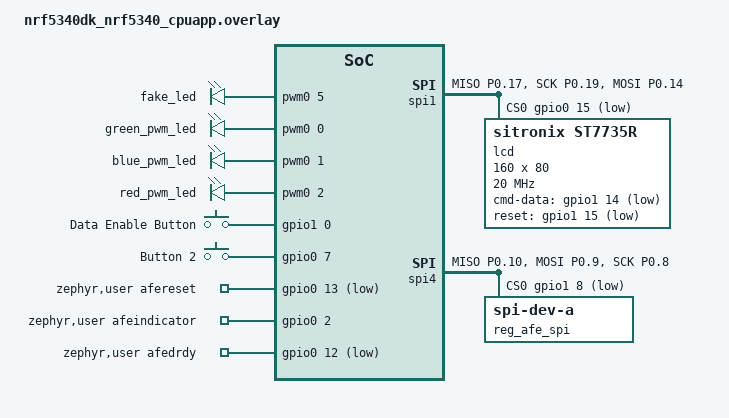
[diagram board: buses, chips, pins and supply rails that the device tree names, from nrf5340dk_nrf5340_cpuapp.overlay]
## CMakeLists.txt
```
#
# Copyright (c) 2020 Nordic Semiconductor
#
# SPDX-License-Identifier: LicenseRef-Nordic-5-Clause
#

cmake_minimum_required(VERSION 3.20.0)

find_package(Zephyr REQUIRED HINTS $ENV{ZEPHYR_BASE})
project(app_core)

# NORDIC SDK APP START
file(GLOB_RECURSE APP_SOURCES "${CMAKE_CURRENT_SOURCE_DIR}/src/*.cpp")
target_sources(app PRIVATE ${APP_SOURCES})

# NORDIC SDK APP END

include_directories(inc)

# Add project directories
zephyr_library_include_directories(.)

# Add CMSIS library from nrfSDK
include_directories(..\\..\\..\\..\\modules\\hal\\cmsis\\CMSIS\\DSP\\Include)
```

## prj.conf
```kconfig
#
# Copyright (c) 2020 Nordic Semiconductor ASA
#
# SPDX-License-Identifier: LicenseRef-Nordic-5-Clause
#

CONFIG_MULTITHREADING=y
CONFIG_KERNEL_MEM_POOL=y
CONFIG_NUM_PREEMPT_PRIORITIES=5
CONFIG_SYS_CLOCK_EXISTS=y
CONFIG_ZERO_LATENCY_IRQS=y
CONFIG_ARM_MPU=y

CONFIG_SMF=y
CONFIG_EVENTS=y

# Peripherals
CONFIG_PWM=y
CONFIG_I2C=n
CONFIG_WATCHDOG=y
CONFIG_SPI=y
CONFIG_SPI_ASYNC=y
CONFIG_FLASH=n
CONFIG_LED_GPIO=y
CONFIG_LED=y

# Enable log settings
CONFIG_LOG=y
CONFIG_STDOUT_CONSOLE=n
CONFIG_UART_CONSOLE=n
CONFIG_RTT_CONSOLE=y
CONFIG_EARLY_CONSOLE=n
CONFIG_USE_SEGGER_RTT=y
CONFIG_CBPRINTF_FP_A_SUPPORT=y
# Enable CPP specific flags
# NOTE: some are deprecated but we need them to avoid linker errors
CONFIG_CPLUSPLUS=y
CONFIG_LIB_CPLUSPLUS=y
CONFIG_NEWLIB_LIBC=y
CONFIG_STD_CPP14=y

# Enable CMSIS to be used through nrfSDK
CONFIG_FPU=y
CONFIG_NEWLIB_LIBC=y
CONFIG_CMSIS_DSP=y
CONFIG_CMSIS_DSP_SUPPORT=y
CONFIG_CMSIS_DSP_MATRIX=y
CONFIG_CMSIS_DSP_STATISTICS=y
CONFIG_CMSIS_DSP_TRANSFORM=y
CONFIG_CMSIS_DSP_BASICMATH=y
CONFIG_CMSIS_DSP_COMPLEXMATH=y
CONFIG_CMSIS_NN=n

# Enable hardware peripherals
CONFIG_DMA=y
CONFIG_CPP=y

# Enable firmware settings
CONFIG_USERSPACE=y
CONFIG_DEBUG_THREAD_INFO=y
CONFIG_DEBUG_OPTIMIZATIONS=n
# CONFIG_NO_OPTIMIZATIONS=y
CONFIG_DYNAMIC_INTERRUPTS=n
CONFIG_TEST=y
CONFIG_IRQ_OFFLOAD=n
CONFIG_THREAD_STACK_INFO=y
CONFIG_THREAD_CUSTOM_DATA=n
CONFIG_BOOT_BANNER=n
CONFIG_BOOT_DELAY=0
CONFIG_RING_BUFFER=y

# Enable CPP specific flags
# NOTE: some are deprecated but we need them to avoid linker errors
CONFIG_CPLUSPLUS=y
CONFIG_LIB_CPLUSPLUS=y
CONFIG_NEWLIB_LIBC=y
CONFIG_STD_CPP14=y

CONFIG_NRFX_SPIM0=y

# FOR LCD SCREEN
CONFIG_DISPLAY=y
CONFIG_LED=y
CONFIG_PRINTK=y
CONFIG_EARLY_CONSOLE=n

# LCD Configs
CONFIG_LV_FONT_MONTSERRAT_16=y
CONFIG_LV_Z_MEM_POOL_NUMBER_BLOCKS=8
CONFIG_LV_Z_SHELL=y
CONFIG_MAIN_STACK_SIZE=2048
CONFIG_DISPLAY_LOG_LEVEL_ERR=y
CONFIG_SHELL=y
CONFIG_DISPLAY=y
CONFIG_LVGL=y
CONFIG_ST7735R=y
CONFIG_LV_MEM_CUSTOM=y
CONFIG_LV_USE_LOG=y
CONFIG_LV_USE_LABEL=y
CONFIG_LV_USE_BTN=y
CONFIG_LV_USE_IMG=y
CONFIG_LV_USE_MONKEY=y
CONFIG_LV_FONT_MONTSERRAT_14=y
```

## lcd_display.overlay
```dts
// To get started, press Ctrl+Space to bring up the completion menu and view the available nodes.

// You can also use the buttons in the sidebar to perform actions on nodes.
// Actions currently available include:

// * Enabling / disabling the node
// * Adding the bus to a bus
// * Removing the node
// * Connecting ADC channels

// For more help, browse the DeviceTree documentation at https://docs.zephyrproject.org/latest/guides/dts/index.html
// You can also visit the nRF DeviceTree extension documentation at https://nrfconnect.github.io/vscode-nrf-connect/devicetree/nrfdevicetree.html

// #include "nrf5340_cpuapp_common-pinctrl.dtsi"
#include <zephyr/dt-bindings/pwm/pwm.h>
#include <zephyr/dt-bindings/input/input-event-codes.h>
#include <zephyr/dt-bindings/spi/spi.h>
#include <zephyr/dt-bindings/gpio/gpio.h>

&pinctrl {
    pwm0_default: pwm0_default {
        group1 {
            psels = <NRF_PSEL(PWM_OUT0, 0, 3)>,   // Channel 0, green line, pin 3 
                    <NRF_PSEL(PWM_OUT1, 0, 4)>,   // Channel 1, blue line, pin 4
                    <NRF_PSEL(PWM_OUT2, 0, 5)>;   // Channel 2, red line, pin 5
            nordic,invert;
        };
    };

    afe_spi_default: afe_spi_default {
        group1 {
            psels = <NRF_PSEL(SPIM_MISO, 0, 10)>,
                    <NRF_PSEL(SPIM_MOSI, 0, 9)>,
                    <NRF_PSEL(SPIM_SCK, 0, 8)>;
        };
    };

    afe_spi_sleep: afe_spi_sleep {
        group1 {
            psels = <NRF_PSEL(SPIM_MISO, 0, 10)>,
                    <NRF_PSEL(SPIM_MOSI, 0, 9)>,
                    <NRF_PSEL(SPIM_SCK, 0, 8)>;
            low-power-enable;
        };
    };
};

/ {
    aliases {
        pwm-led0 = &fake_led;
        greenled = &green_pwm_led; // 0.03
        blueled = &blue_pwm_led; // 0.04
        redled = &red_pwm_led; // 0.05
        databutton = &button_data_en; // 1.00
        afespi = &spi0;
    };

    pwmleds {
        compatible = "pwm-leds";

        // pwm0 Ch dont care
        fake_led: fake {
            pwms = <&pwm0 5 15625000 PWM_POLARITY_NORMAL>;
        };
        // pwm0 Ch 0
        green_pwm_led: green_pwm {
            pwms = <&pwm0 0 15625000 PWM_POLARITY_NORMAL>;
        };
        // pwm0 Ch 1
        blue_pwm_led: blue_pwm {
            pwms = <&pwm0 1 15625000 PWM_POLARITY_NORMAL>;
        };
        // pwm0 Ch 2
        red_pwm_led: red_pwm {
            pwms = <&pwm0 2 15625000 PWM_POLARITY_NORMAL>;
        };
    };
    
    buttons {
        compatible = "gpio-keys";
        button_data_en: data_en {
            gpios = <&gpio1 0 (GPIO_PULL_DOWN | GPIO_ACTIVE_HIGH)>;
            label = "Data Enable Button";
            zephyr,code = <INPUT_KEY_0>;
        };
    };

    zephyr,user {
        afereset-gpios = <&gpio0 13 (GPIO_ACTIVE_LOW | GPIO_PULL_UP)>;
        afereset-label = "AFE Reset";
        afeindicator-gpios = <&gpio0 2 0>;
        afeindicator-label = "AFE Indicator LED";
    };
};

/delete-node/ &pwm_led0;
/delete-node/ &{/pin-controller/pwm0_sleep/group1/};

&pwm0_default {
    group1 {
        psels = <NRF_PSEL(PWM_OUT2, 0, 5)>;
    };
    group2 {
        psels = <NRF_PSEL(PWM_OUT0, 1, 3)>, <NRF_PSEL(PWM_OUT1, 0, 4)>, <NRF_PSEL(PWM_OUT2, 0, 5)>;
    };
};

afe_spi: &spi4 {
	compatible = "nordic,nrf-spim";
	status = "okay";
	pinctrl-0 = <&afe_spi_default>;
	pinctrl-1 = <&afe_spi_sleep>;
	pinctrl-names = "default", "sleep";
    cs-gpios = <&gpio1 8 (GPIO_ACTIVE_LOW)>;
	reg_afe_spi:  spi-dev-a@0 {
		reg = <0>;
	};
};

&i2c1_default {
    group1 {
        psels = <NRF_PSEL(TWIM_SDA, 1, 2)>;
    };
};

&i2c1_sleep {
    group1 {
        psels = <NRF_PSEL(TWIM_SDA, 1, 2)>;
    };
};
&gpio_fwd {
    uart {
        status = "disabled";
        /delete-property/ nfct-pins-as-gpios;
    };
};
&uart0 {
    status = "disabled";
};
&qspi {
    status = "disabled";
};
&gpiote {
    status = "okay";
};
```

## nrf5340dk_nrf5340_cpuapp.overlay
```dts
// To get started, press Ctrl+Space to bring up the completion menu and view the available nodes.

// You can also use the buttons in the sidebar to perform actions on nodes.
// Actions currently available include:

// * Enabling / disabling the node
// * Adding the bus to a bus
// * Removing the node
// * Connecting ADC channels

// For more help, browse the DeviceTree documentation at https://docs.zephyrproject.org/latest/guides/dts/index.html
// You can also visit the nRF DeviceTree extension documentation at https://nrfconnect.github.io/vscode-nrf-connect/devicetree/nrfdevicetree.html

// #include "nrf5340_cpuapp_common-pinctrl.dtsi"
#include <zephyr/dt-bindings/pwm/pwm.h>
#include <zephyr/dt-bindings/input/input-event-codes.h>
#include <zephyr/dt-bindings/spi/spi.h>
#include <zephyr/dt-bindings/gpio/gpio.h>

&pinctrl {
    pwm0_default: pwm0_default {
        group1 {
            psels = <NRF_PSEL(PWM_OUT0, 0, 3)>,   // Channel 0, green line, pin 3 
                    <NRF_PSEL(PWM_OUT1, 0, 4)>,   // Channel 1, blue line, pin 4
                    <NRF_PSEL(PWM_OUT2, 0, 5)>;   // Channel 2, red line, pin 5
            nordic,invert;
        };
    };

    afe_spi_default: afe_spi_default {
        group1 {
            psels = <NRF_PSEL(SPIM_MISO, 0, 10)>,
                    <NRF_PSEL(SPIM_MOSI, 0, 9)>,
                    <NRF_PSEL(SPIM_SCK, 0, 8)>;
        };
    };

    afe_spi_sleep: afe_spi_sleep {
        group1 {
            psels = <NRF_PSEL(SPIM_MISO, 0, 10)>,
                    <NRF_PSEL(SPIM_MOSI, 0, 9)>,
                    <NRF_PSEL(SPIM_SCK, 0, 8)>;
            low-power-enable;
        };
    };
};

&pinctrl {
    lcd_spi_default: lcd_spi_default {
        group1 {
            psels = <NRF_PSEL(SPIM_MISO, 0, 17)>, <NRF_PSEL(SPIM_SCK, 0, 19)>;
        };

        group2 {
            psels = <NRF_PSEL(SPIM_MOSI, 0, 14)>;
            nordic,invert;
        };
    };
    // lcd_spi_sleep: lcd_spi_sleep {
    //     group1 {
    //         psels = <NRF_PSEL(SPIM_MISO, 0, 17)>,
    //                 <NRF_PSEL(SPIM_MOSI, 0, 14)>,
    //                 <NRF_PSEL(SPIM_SCK, 0, 19)>;
    //         low-power-enable;
    //     };
    // };
};

/ {
    aliases {
        pwm-led0 = &fake_led;
        greenled = &green_pwm_led; // 0.03
        blueled = &blue_pwm_led; // 0.04
        redled = &red_pwm_led; // 0.05
        afespi = &spi0;
        button1 = &button_1; // 1.00
        button2 = &button_2; // 1.00
    };

    chosen {
        zephyr,display = &lcd;
    };

    pwmleds {
        compatible = "pwm-leds";

        // pwm0 Ch dont care
        fake_led: fake {
            pwms = <&pwm0 5 15625000 PWM_POLARITY_NORMAL>;
        };
        // pwm0 Ch 0
        green_pwm_led: green_pwm {
            pwms = <&pwm0 0 15625000 PWM_POLARITY_NORMAL>;
        };
        // pwm0 Ch 1
        blue_pwm_led: blue_pwm {
            pwms = <&pwm0 1 15625000 PWM_POLARITY_NORMAL>;
        };
        // pwm0 Ch 2
        red_pwm_led: red_pwm {
            pwms = <&pwm0 2 15625000 PWM_POLARITY_NORMAL>;
        };
    };
    
    buttons {
        compatible = "gpio-keys";

		button_1: button1 {
			gpios = <&gpio1 0 (GPIO_PULL_DOWN | GPIO_ACTIVE_HIGH)>;
			label = "Data Enable Button";
			zephyr,code = <INPUT_KEY_0>;
		};

        button_2: button2 {
			gpios = <&gpio0 7 (GPIO_PULL_DOWN | GPIO_ACTIVE_HIGH)>;
			label = "Button 2";
			zephyr,code = <INPUT_KEY_0>;
		};
    };

    zephyr,user {
        afereset-gpios = <&gpio0 13 (GPIO_ACTIVE_LOW | GPIO_PULL_UP)>;
        afereset-label = "AFE Reset";
        afeindicator-gpios = <&gpio0 2 0>;
        afeindicator-label = "AFE Indicator LED";
        afedrdy-gpios = <&gpio0 12 (GPIO_ACTIVE_LOW)>;
        afedrdy-label = "AFE DRDY";
    };
};

/delete-node/ &pwm_led0;
/delete-node/ &{/pin-controller/pwm0_sleep/group1/};

lcd_spi: &spi1 {
	// compatible = "nordic,nrf-spim";
	status = "okay";
	pinctrl-0 = <&lcd_spi_default>;
    // pinctrl-1 = <&lcd_spi_sleep>;
	pinctrl-names = "default";
    cs-gpios = <&gpio0 15 (GPIO_ACTIVE_LOW)>;

    lcd: st7735r@0 {
        compatible = "sitronix,st7735r";
		spi-max-frequency = <20000000>;
		reg = <0>;
        // lcd-logic-power-gpios = <&gpio0 5 GPIO_ACTIVE_HIGH>;	/* D7 */
		// lcd-backlight-power-gpios = <&gpio1 13 GPIO_ACTIVE_HIGH>;	/* D4 */
		cmd-data-gpios = <&gpio1 14 GPIO_ACTIVE_LOW>;	/* D9 */
		reset-gpios = <&gpio1 15 GPIO_ACTIVE_LOW>;	/* D8 */
		width = <160>;
		height = <80>;
		inversion-on;
		rgb-is-inverted;
		x-offset = <1>;
		y-offset = <26>;
		pwctr1 = [62 02 04];
		pwctr2 = [C0];
		pwctr3 = [0D 00];
		pwctr4 = [8D 6A];
		pwctr5 = [8D EE];
		invctr = <3>;
		frmctr1 = [05 3A 3A];
		frmctr2 = [05 3A 3A];
		frmctr3 = [05 3A 3A 05 3A 3A];
		vmctr1 = <14>;
		gamctrp1 = [10 0E 02 03 0E 07 02 07 0A 12 27 37 00 0D 0E 10];
		gamctrn1 = [10 0E 03 03 0F 06 02 08 0A 13 26 36 00 0D 0E 10];
		colmod = <5>;
		madctl = <120>;
		caset = [00 01 00 a0];
		raset = [00 1a 00 69];

		// spi-max-frequency = <4000000>;
    };
};

&gpio_fwd {
    uart {
        gpios = <&gpio0 11 0>, <&gpio0 10 0>;
    };
};

&pwm0_default {
    group1 {
        psels = <NRF_PSEL(PWM_OUT2, 0, 5)>;
    };
    group2 {
        psels = <NRF_PSEL(PWM_OUT0, 1, 3)>, <NRF_PSEL(PWM_OUT1, 0, 4)>, <NRF_PSEL(PWM_OUT2, 0, 5)>;
    };
};

afe_spi: &spi4 {
	compatible = "nordic,nrf-spim";
	status = "okay";
    easydma-maxcnt-bits = <18>; // 2^18
	pinctrl-0 = <&afe_spi_default>;
	pinctrl-1 = <&afe_spi_sleep>;
	pinctrl-names = "default", "sleep";
    cs-gpios = <&gpio1 8 (GPIO_ACTIVE_LOW | GPIO_PULL_UP)>;
	reg_afe_spi:  spi-dev-a@0 {
		reg = <0>;
	};
};

&i2c1_default {
    group1 {
        psels = <NRF_PSEL(TWIM_SDA, 1, 2)>;
    };
};

&i2c1_sleep {
    group1 {
        psels = <NRF_PSEL(TWIM_SDA, 1, 2)>;
    };
};
&gpio_fwd {
    uart {
        status = "disabled";
        /delete-property/ nfct-pins-as-gpios;
    };
};
&uart0 {
    status = "disabled";
};
&qspi {
    status = "disabled";
};
&gpiote {
    status = "okay";
};

&qspi_default {
    group1 {
        psels = <NRF_PSEL(QSPI_IO0, 0, 13)>,
                <NRF_PSEL(QSPI_IO3, 0, 16)>,
                <NRF_PSEL(QSPI_CSN, 0, 18)>;
    };
};

&qspi_sleep {
    group1 {
        psels = <NRF_PSEL(QSPI_IO0, 0, 13)>, <NRF_PSEL(QSPI_IO3, 0, 16)>;
    };
};

&uart0_default {
    group1 {
        psels = <NRF_PSEL(UART_TX, 0, 20)>;
    };
};

&uart0_sleep {
    group1 {
        psels = <NRF_PSEL(UART_TX, 0, 20)>, <NRF_PSEL(UART_RX, 0, 22)>, <NRF_PSEL(UART_CTS, 0, 21)>;
    };
};
```

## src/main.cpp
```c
/*
 * Copyright (c) 2020 Nordic Semiconductor ASA
 *
 * SPDX-License-Identifier: LicenseRef-Nordic-5-Clause
 */

#include <zephyr/kernel.h>
#include <zephyr/drivers/gpio.h>
#include <zephyr/logging/log.h>
#include <zephyr/logging/log_ctrl.h>
#include <StateMachineThread.h>
#include <HIDThread.h>
#include <zephyr/init.h>
#include <HIDThread.h>
#include <nrf.h>
#include <nrfx.h>

#include <stdlib.h>

#include "ArmMatrixWrapper.h"
#include "led_handler.h"
#include "DataAcquisitionThread.h"
#include "SignalProcessingThread.h"
#include "drivers/ads1299.h"

// temporary
#include <zephyr/drivers/pwm.h>

LOG_MODULE_REGISTER(eegals_app_core, LOG_LEVEL_DBG);

// static const struct pwm_dt_spec blue_pwm_led = PWM_DT_SPEC_GET(DT_ALIAS(blueled));

#define LOG_DELAY_MS 3000
// #define LED_PERIOD 1000
// #define LED_OFF 0
// #define LED_CHANNEL 0
// #define LED_BLUE_PULSE_WIDTH 1000


int main(void)
{
	LOG_INF("Hello world from %s", CONFIG_BOARD);

	StateMachineThread::GetInstance().Initialize();
    HIDThread::GetInstance().Initialize();
	DataAcquisitionThread::GetInstance().Initialize();
	SignalProcessingThread::GetInstance().Initialize();

	while(1) {
		LOG_DBG("main thread uptime: %u ms", k_uptime_get_32());
		k_msleep(LOG_DELAY_MS);
	}

	return 0;
};
```

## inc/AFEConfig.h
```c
#ifndef AFE_CONFIG_H
#define AFE_CONFIG_H

#include <zephyr/device.h>
#include <zephyr/drivers/spi.h>
#include <zephyr/drivers/gpio.h>
#include <zephyr/drivers/led.h>

// AFE SPI
#define AFE_SPI DT_NODELABEL(afe_spi)
#define AFE_SPI_CS_DEV DT_PHANDLE(AFE_SPI, cs_gpios)
#define AFE_SPI_CS_PIN DT_PHA(AFE_SPI, cs_gpios, pin)
#define AFE_SPI_CS_DT_SPEC SPI_CS_GPIOS_DT_SPEC_GET(DT_NODELABEL(reg_afe_spi))
#define AFE_SPI_FREQUENCY_HZ 2000000

// AFE RESET PIN
#define ZEPHYR_USER_NODE DT_PATH(zephyr_user)
#define AFE_RESET_NODE DT_NODELABEL(ZEPHYR_USER_NODE)
#define AFE_RESET_DEV DT_PROP(ZEPHYR_USER_NODE, afereset_gpios)

#define AFE_INDICATE_NODE DT_NODELABEL(ZEPHYR_USER_NODE)
#define AFE_INDICATE_DEV DT_PROP(ZEPHYR_USER_NODE, afeindicator_gpios)

// AFE RESET LED METHOD
// #define LED1_RESET DT_NODELABEL(led1)
// #define LED1_RESET_DEV DT_PHANDLE(LED1_RESET, gpios)
// #define LED1_RESET_PIN DT_PHA(LED1_RESET, gpios, pin)
// #define LED1_RESET_FLAGS DT_PHA(LED1_RESET, gpios, flags)

#endif
```

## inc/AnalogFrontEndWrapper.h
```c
#pragma once

#include "Data.h"

class AnalogFrontEndWrapper {
    
public:
    virtual ~AnalogFrontEndWrapper() = default;
    virtual void Initialize() = 0;
    // virtual void Configure() = 0;
    virtual void Start()=0;
    virtual void Wakeup()=0;
    virtual void Standby()=0;
    virtual void Reset()=0;
    virtual void Stop()=0;
    virtual void ReadData()=0;
};
```

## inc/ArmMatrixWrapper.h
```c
#pragma once
// #include <stdint.h>
#include <cstdint>
#include <cstring>
#include <vector>
#include <zephyr/sys/printk.h> 

#include "arm_math.h"

template <uint32_t MaxRows, uint32_t MaxCols>
class ArmMatrixWrapper {
private:
    arm_matrix_instance_f32 matrix;

public:
    static constexpr uint32_t MaxBufferSize = MaxRows * MaxCols;
    float32_t data[MaxBufferSize];
    
    ArmMatrixWrapper() {
        arm_mat_init_f32(&matrix, MaxRows, MaxCols, data);
    };

    // Copy cstor
    ArmMatrixWrapper(const ArmMatrixWrapper& other) {
        memcpy(data, other.data, MaxBufferSize * sizeof(float32_t));
        arm_mat_init_f32(&matrix, MaxRows, MaxCols, data);
    };

    // Assignment optor
    ArmMatrixWrapper& operator=(const ArmMatrixWrapper& other) {
        if (this != &other) {
            memcpy(data, other.data, MaxBufferSize * sizeof(float32_t));
            arm_mat_init_f32(&matrix, MaxRows, MaxCols, data);
        }
        return *this;
    };

    // Dstor
    ~ArmMatrixWrapper() {};

    // Getters and Setters
    bool set_rows(uint32_t rows) {
        if (rows <= MaxRows) {
            arm_mat_init_f32(&matrix, rows, matrix.numCols, data);
            return true;
        } else {
            // NOTE: silent failure
            return false;
        }
    };

    bool set_cols(uint32_t cols) {
        if (cols <= MaxCols) {
            arm_mat_init_f32(&matrix, matrix.numRows, cols, data);
            return true;
        } else {
            // Handle error: Columns exceeds maximum allowed value
            return false;
        }
    };

    uint32_t get_rows() const {
        return matrix.numRows;
    };

    uint32_t get_cols() const {
        return matrix.numCols;
    };

    // Access Functions
    float32_t at(uint32_t index) const {
        if (index < MaxBufferSize) {
            return data[index];
        } else {
            // Note: silent error
            return 0.0f;
        }
    };

    bool set_at(float32_t value, uint32_t index) {
        if (index < MaxBufferSize) {
            data[index] = value;
            return true;
        } else {
            return false;
        }
    };

    bool set_at(float32_t value, uint32_t i, uint32_t j) {
        if (i < matrix.numRows && j < matrix.numCols) {
            data[i * matrix.numCols + j] = value;
            return true;
        } else {
            return false;
        }
    };

    float32_t at(uint32_t i, uint32_t j) const {
        if (i < matrix.numRows && j < matrix.numCols) {
            return data[i * matrix.numCols + j];
        } else {
            return 0.0f;
        }
    };

    ArmMatrixWrapper<MaxRows, 1> get_column_vector_at(uint32_t j) const {
        ArmMatrixWrapper<MaxRows, 1> columnVector;
        for (uint32_t i = 0; i < MaxRows; i++) {
            columnVector.set_at(at(i, j), i);
        }
        return columnVector;
    };

    // Get row vector at index i
    ArmMatrixWrapper<1, MaxCols> get_row_vector_at(uint32_t i) const {
        ArmMatrixWrapper<1, MaxCols> rowVector;
        for (uint32_t j = 0; j < MaxCols; j++) {
            rowVector.set_at(at(i, j), j);
        }
        return rowVector;
    };

    bool set_row_vector_at(const ArmMatrixWrapper<1, MaxCols>& rowVector, uint32_t i) {
        if (i >= matrix.numRows) {
            // Row index out of bounds
            return false;
        }

        for (uint32_t j = 0; j < MaxCols; ++j) {
            if (!set_at(rowVector.at(j), i, j)) {
                // Failed to set element in the row vector
                return false;
            }
        }
        return true;
    };

    bool set_column_vector_at(const ArmMatrixWrapper<MaxRows, 1>& columnVector, uint32_t j) {
        if (j >= matrix.numCols) {
            // Column index out of bounds
            return false;
        }

        for (uint32_t i = 0; i < MaxRows; ++i) {
            if (!set_at(columnVector.at(i), i, j)) {
                // Failed to set element in the column vector
                return false;
            }
        }
        return true;
    }

    void prettyPrint() {
        printk("\nmatrix data:\n");
        for (int row = 0; row < matrix.numRows; row++ ) { 
            for (int col = 0; col < matrix.numCols; col++ ) 
            { 
                printk("%.4f\t", this->at(row,col));
            }
            printk("\n");
        } 
        printk("\n");
    };

    // Overloaded Operators
    ArmMatrixWrapper operator+(const ArmMatrixWrapper& other) const {
        ArmMatrixWrapper result; // deepy copy
        arm_mat_add_f32(&matrix, &other.matrix, &result.matrix);
        return result;
    };

    ArmMatrixWrapper operator-(const ArmMatrixWrapper& other) const {
        ArmMatrixWrapper result;
        arm_mat_sub_f32(&matrix, &other.matrix, &result.matrix);
        return result;
    };

    ArmMatrixWrapper operator*(const ArmMatrixWrapper& other) const {
        ArmMatrixWrapper result;
        arm_mat_mult_f32(&matrix, &other.matrix, &result.matrix);
        return result;
    };

    ArmMatrixWrapper& operator+=(const ArmMatrixWrapper& other) {
        arm_mat_add_f32(&matrix, &other.matrix, &matrix);
        return *this;
    };

    ArmMatrixWrapper& operator-=(const ArmMatrixWrapper& other) {
        arm_mat_sub_f32(&matrix, &other.matrix, &matrix);
        return *this;
    };

    ArmMatrixWrapper& operator*=(const ArmMatrixWrapper& other) {
        arm_mat_mult_f32(&matrix, &other.matrix, &matrix);
        return *this;
    };

    // Matrix Operations
    ArmMatrixWrapper<MaxCols, MaxRows> transpose() const {
        ArmMatrixWrapper<MaxCols, MaxRows> result;
        arm_mat_trans_f32(&matrix, &result.matrix);
        return result;
    };

    bool inverse() {
        arm_status status = arm_mat_inverse_f32(&matrix, &matrix);
        return (status == ARM_MATH_SUCCESS);
    };

    bool scale(float32_t scaleFactor) {
        arm_mat_scale_f32(&matrix, scaleFactor, &matrix);
        return true; // Assuming the CMSIS-DSP function always succeeds
    };

    // Utility
    void set_to_identity() {
        // arm_mat_identity_f32(&matrix);
    };

    void set_to_zero() {
        memset(data, 0, MaxBufferSize * sizeof(float32_t));
        matrix.numCols = 0;
        matrix.numRows = 0;
    };

    // statistics
    float32_t maximum() const {
        float32_t maxValue;
        uint32_t maxIndex;
        arm_max_f32(data, MaxBufferSize, &maxValue, &maxIndex);
        return maxValue;
    };

    float32_t minimum() const {
        float32_t minValue;
        uint32_t minIndex;
        arm_min_f32(data, MaxBufferSize, &minValue, &minIndex);
        return minValue;
    };

    float32_t mean() const {
        float32_t meanValue;
        arm_mean_f32(data, MaxBufferSize, &meanValue);
        return meanValue;
    };

    //**** NOTE **** //
    // to avoid making unnecessary column/row vectors, we implement this ourselves:
    float32_t mean_row(uint32_t row_index) const {
        if (matrix.numCols == 0) {
            return 0;
        }
        float32_t sum = 0.0f;
        for (uint32_t j = 0; j < matrix.numCols; ++j) {
            sum += at(row_index, j);
        }
        return sum / matrix.numCols;
    };

    float32_t mean_column(uint32_t col_index) const {
        if (matrix.numRows == 0) {
            return 0;
        }
        float32_t sum = 0.0f;
        for (uint32_t i = 0; i < matrix.numRows; ++i) {
            sum += at(i, col_index);
        }
        return sum / matrix.numRows;
    };
    //**** end ****//
    float32_t power() const {
        float32_t powerValue;
        arm_power_f32(data, MaxBufferSize, &powerValue);
        return powerValue;
    };

    float32_t rms() const {
        float32_t rmsValue;
        arm_rms_f32(data, MaxBufferSize, &rmsValue);
        return rmsValue;
    };

    float32_t standardDeviation() const {
        float32_t stdDevValue;
        arm_std_f32(data, MaxBufferSize, &stdDevValue);
        return stdDevValue;
    };

    float32_t variance() const {
        float32_t varianceValue;
        arm_var_f32(data, MaxBufferSize, &varianceValue);
        return varianceValue;
    };

    float32_t meanSquareError(const ArmMatrixWrapper<MaxRows, MaxCols>& other) const {
        float32_t mseValue;
        arm_mean_squared_error_f32(data, other.data, MaxBufferSize, &mseValue);
        return mseValue;
    };

    // Computes the raw FFT for specific channel given a number of samples 
    ArmMatrixWrapper<MaxRows, 1> rawFFT(uint32_t channel) const {
        
        // Struct to store the output of the FFT for one channel 
        ArmMatrixWrapper<MaxRows, 1> rawResult;

        // Temporary arrays to store initial data and intermediate FFT values
        ArmMatrixWrapper<MaxRows, 1> inputFFT = this->get_column_vector_at(channel);

        // 0 indicates FFT and 1 indicates inverse FFT (This flag will not change)
        const uint8_t ifftFlag = 0;

        // Initalize the instance with the specified number of rows
        static arm_rfft_fast_instance_f32 fft_instance;
        arm_rfft_fast_init_f32(&fft_instance, MaxRows);

        // Compute the FFT and store the outputs of the FFT in the array
        arm_rfft_fast_f32(&fft_instance, inputFFT.data, rawResult.data, ifftFlag);

        // The first entry is the DC offset so simply set to 0
        rawResult.data[0] =  0;

        return rawResult;
    };


    // Computes the single-sided FFT for a specific channel given a number of samples
    ArmMatrixWrapper<MaxRows/2, 1> singleSideFFT(uint32_t channel) const {

        // Struct to store the output of the FFT for one channel 
        ArmMatrixWrapper<MaxRows/2, 1> FFTResult;

        // Extract the magnitude values because FFT values are complex and have both a magnitude and phase.
        // matrix.numRows/2 because we are looking at one-sided spectrum (# of magnitudes we want to look at)
        ArmMatrixWrapper<MaxRows, 1> rawFFTChannel = rawFFT(channel);
    
        // Input matrix is complex FFT size, output is complexFFT/2 size
        arm_cmplx_mag_f32(rawFFTChannel.data, FFTResult.data, MaxRows/2);

        return FFTResult;
    }

    // Computes the single-sided Power given the single-sided FFT of a channel
    ArmMatrixWrapper<MaxRows/2, 1> singleSidePower(uint32_t channel) const {
        
        // Struct to store the output of the FFT for one channel 
        ArmMatrixWrapper<MaxRows/2, 1> powerFFT;

        // Compute the power of the FFT
        ArmMatrixWrapper<MaxRows, 1> rawFFTChannel = rawFFT(channel);

        // Input matrix is complex FFT size, output is complexFFT/2 size
        arm_cmplx_mag_squared_f32(rawFFTChannel.data, powerFFT.data, MaxRows/2);

        // Check if the scaling is required for the above function
        // Copy the output to the result matrix
        return powerFFT;
    }

    // Computes the single-sided Band Power given the single-sided FFT of a channel,
    // Pwelch of specified channel and specific band power range type
    float32_t singleSideBandPower(float32_t sampleFreq, float32_t sampleNo, uint32_t bandSelect, uint8_t electrode) const {
        // The frequency resolution or frequency bin width
        float32_t freqRes = sampleFreq / sampleNo;
        // The following band limits: delta band, theta band, alpha band, beta band
        float32_t bandRanges[] = {1.f,3.f,4.f,7.f,8.f,12.f,13.f,30.f};

        // Low and high limit for specified band range of frequencies
        uint32_t lowLimit = 0;
        uint32_t highLimit = 0;

        switch(bandSelect){

            // delta band (Note: make an enum for the different band types)
            case 0:{
                lowLimit = (uint32_t)(floor(bandRanges[0] / freqRes));  
                highLimit = (uint32_t)(ceil(bandRanges[1] / freqRes));
                break;
            } 
            // theta band
            case 1:{
                lowLimit = (uint32_t)(floor(bandRanges[2] / freqRes));
                highLimit = (uint32_t)(ceil(bandRanges[3] / freqRes));
                break;
            }
            // alpha band
            case 2:{
                lowLimit = (uint32_t)(floor(bandRanges[4] / freqRes));
                highLimit = (uint32_t)(ceil(bandRanges[5] / freqRes));
                break;
            }
            // beta band
            case 3:{
                lowLimit = (uint32_t)(floor(bandRanges[6] / freqRes));
                highLimit = (uint32_t)(ceil(bandRanges[7] / freqRes));
                break;
            }
            default:{
                break;
            }
        }

        // Calculating the band power for specified band range of frequnencies
        float32_t bandPower = 0;
        for(uint32_t i = lowLimit; i < highLimit; i++){
            bandPower += at(i, electrode);
        }
        bandPower = bandPower * freqRes;
        return bandPower;
    };

    // Computes the single-sided Relative Band Power given the specified bandPower values
    ArmMatrixWrapper<4,1>  singleSideRelativeBandPower(ArmMatrixWrapper<4,1> bandPowers, uint8_t electrode){   
        ArmMatrixWrapper<4,1> relativeBandpowers;
        // Temporary array to store power results for one channel
        ArmMatrixWrapper<MaxRows, 1> electrodePowerResult = this->get_column_vector_at(electrode);

        // Calculate summation of total power for one channel
        float32_t totalPower = 0;
        for(uint32_t i = 0; i < MaxRows; i++){
            totalPower += electrodePowerResult.data[i];
        }

        // Calculate relative band power relative to the total power of one channel
        for(uint32_t i = 0; i < 4; i++){
            if(totalPower == 0) {
                relativeBandpowers.data[i] = 0.0f;
            }
            else {
                relativeBandpowers.data[i] = bandPowers.data[i] / totalPower;
            }
        }
        return relativeBandpowers;
    }
};
```

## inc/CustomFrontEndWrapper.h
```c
#pragma once

#include "AnalogFrontEndWrapper.h"

class CustomFrontEndWrapper : public AnalogFrontEndWrapper {
public:
    void Initialize() override;
    void Configure();
    void Start() override;
    void Wakeup() override;
    void Standby() override;
    void Reset() override;
    void Stop() override;
    void ReadData() override;
};
```

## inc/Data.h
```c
#pragma once
// #include <stdlib.h>
#include <cstdint>
#include "drivers/ads1299.h"

// GENERIC
#define CH1_IDX 0
#define CH2_IDX 1
#define CH3_IDX 2
#define CH4_IDX 3
#define CH5_IDX 4
#define CH6_IDX 5
#define CH7_IDX 6
#define CH8_IDX 7

#define DELTA_IDX 0
#define THETA_IDX 1
#define ALPHA_IDX 2
#define BETA_IDX  3

// SIGPROC
#define PROCESSED_SAMPLE_NUMBER 512
#define SAMPLE_FREQ 250 
#define CHANNELS_TEST 1 // Just for testing one channel 
#define BANDS 4

// DAQ
constexpr uint8_t num_electrodes = 8;
constexpr uint8_t max_epochs = 8;
constexpr uint8_t num_bytes_per_sample = 3 * (num_electrodes + 1);
constexpr uint16_t num_samples_per_test = 250;
constexpr uint16_t num_samples_per_epoch = 512;
constexpr uint16_t rx_buf_len = num_bytes_per_sample * num_samples_per_test;

// Data Buffer Manager
constexpr uint16_t max_samples_ring_buffer = 2048;
constexpr size_t sample_size_B = sizeof(sample_t);
constexpr size_t total_size_ring_buffer_B = max_samples_ring_buffer * sample_size_B;

typedef struct {
    float32_t delta;
    float32_t theta;
    float32_t alpha;
    float32_t beta;
} Electrode;

typedef struct {
    Electrode band_powers[num_electrodes];
    bool is_abnormal;
} Result;
```

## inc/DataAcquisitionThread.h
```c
#pragma once

#include <zephyr/logging/log_ctrl.h>
#include <zephyr/logging/log.h>
#include "core/Thread.h"
#include "TIBareMetalWrapper.h"

#define DATA_ACQ_THREAD_STACK_SIZE_B 2048
#define DATA_ACQ_THREAD_PRIORITY 4 // max based on prj config
#define DATA_ACQ_THREAD_MSG_Q_DEPTH 10

// #define AFE_RST_PIN DT_GPIO_PIN(AFE_RESET, gpios)

class DataAcquisitionThread : public Thread<DATA_ACQ_THREAD_MSG_Q_DEPTH> {
private:
    // TIFrontEndWrapper AFEWrapper;
    DataAcquisitionThread();
    ~DataAcquisitionThread() = default;

    // need to delete copy cstor and assign optor
    DataAcquisitionThread(const DataAcquisitionThread &) = delete;
    DataAcquisitionThread& operator=(const DataAcquisitionThread&) = delete;

    // ADS1299Driver afe_driver;
    TIBareMetalWrapper AFEWrapper;
public:
    enum DataAcquisitionThreadMessage : uint8_t {
        STOP_READING_AFE = 0,
        START_READING_AFE,
        READ_AFE_SAMPLE,
        RESET_AFE,
        CHECK_AFE_REGISTERS,
        RUN_INPUT_SHORT_TEST,
        RUN_INTERNAL_SQUARE_WAVE_TEST_SMALL_SLOW,
        RUN_INTERNAL_SQUARE_WAVE_TEST_BIG_FAST,
        INVALID,
    };

    void Initialize() override;
    void Run() override;

    static DataAcquisitionThread& GetInstance() {
        // NOTE: this method of using static local variable is thread-safe
        // NOTE: this has to be implemented in the child class
        static DataAcquisitionThread instance;
        return instance;
    }
};
```

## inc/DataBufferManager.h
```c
#pragma once

#include <zephyr/kernel.h>
#include <zephyr/sys/sem.h>
#include <zephyr/device.h>
#include <zephyr/logging/log.h>
#include <zephyr/sys/ring_buffer.h>
#include "core/Semaphore.h"
#include "ArmMatrixWrapper.h"
#include "Data.h"

class DataBufferManager {
// NOTE: needs to be fully static, only one instance should exist
private:
    static struct ring_buf buffer;
    static sample_t data_buffer[max_samples_ring_buffer];
    
    // can only read one epoch at a time:
    static bool ReadOneSample(sample_t&);
    static bool is_buffer_initialized;

public:
    // ring functionality
    static void Initialize();
    static bool WriteOneSample(const sample_t);
    static void ReadEpoch(ArmMatrixWrapper<num_samples_per_epoch, num_electrodes> &mat);

    // helpers
    static bool IsEmpty();
    static size_t GetFreeSpace();
    static size_t GetUsedSpace();
    static size_t GetNumSaplesWritten();
    static void ResetBuffer();
};
```

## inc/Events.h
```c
void sig_proc_complete(void);

void return_to_idle(void);
```

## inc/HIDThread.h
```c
#pragma once
// #include "display_st7735r.h"
#include <zephyr/device.h>
#include <zephyr/drivers/spi.h>
#include <zephyr/drivers/gpio.h>
#include <zephyr/sys/byteorder.h>
#include <zephyr/drivers/display.h>
#include <zephyr/logging/log.h>
#include <stdio.h>
#include <lvgl.h>
#include <zephyr/kernel.h>
#include <zephyr/device.h>
#include <zephyr/drivers/display.h>
#include "core/Thread.h"

#define HID_THREAD_STACK_SIZE_B 4096
#define HID_THREAD_PRIORITY 1
#define HID_THREAD_MSG_Q_DEPTH 10


class HIDThread : public Thread<HID_THREAD_MSG_Q_DEPTH>  {
private:
    HIDThread();
    ~HIDThread() = default;

    HIDThread(const HIDThread &) = delete;
    HIDThread& operator=(const HIDThread) = delete;

public:
    static HIDThread& GetInstance() {
        static HIDThread instance;
        return instance;
    };

    enum HDIThreadMessage : uint8_t {
        DISPLAY_INIT,
        DISPLAY_IDLE,
        DISPLAY_TESTING,
        DISPLAY_RESULTS,
        DISPLAY_CANCEL,
        DISPLAY_DEMO,
    };

    void Initialize() override;
    void Run() override;
};
```

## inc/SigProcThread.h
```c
#pragma once

//#include <iostream>
#include <fstream>
#include <sstream>
#include <vector>
#include <string>
//#include "FFTsignal.h"

#include "ArmMatrixWrapper.h"
#include <zephyr/logging/log_ctrl.h>
#include <zephyr/logging/log.h>
#include "core/Thread.h"


#define SIG_PROC_THREAD_STACK_SIZE_B 16384
#define SIG_PROC_THREAD_PRIORITY 3 // max based on prj config
#define SIG_PROC_THREAD_MSG_Q_DEPTH 100

// #ifndef RAW_SAMPLE_NUMBER
// #define RAW_SAMPLE_NUMBER 1024 // Just testing for one channel
// #endif
#define PROCESSED_SAMPLE_NUMBER 512
#define SAMPLE_FREQ 250 
#define CHANNELS_TEST 1 // Just for testing one channel 
#define BANDS 4
#define CHANNELS 1

using namespace std; 


/// @brief 
class SigProcThread : public Thread<SIG_PROC_THREAD_MSG_Q_DEPTH> {
private:
    // TIFrontEndWrapper AFEWrapper;
    SigProcThread();
    ~SigProcThread() = default;

    // need to delete copy cstor and assign optor
    SigProcThread(const SigProcThread &) = delete;
    SigProcThread& operator=(const SigProcThread&) = delete;



    // Matrix of raw data
    ArmMatrixWrapper<1024, 8> allChannels;

    // Array of FFT results of all 8 channels
    vector<ArmMatrixWrapper<512, 1>> channelFFTResults;
  
    // Array of Power spectrum of all 8 channels 
    vector< ArmMatrixWrapper<512, 1> > channelPowerResults;
   
    vector<float32_t> bandPowers = vector<float32_t>(4);
    // Array of channels where each channel has 4 elements for 4 bandpowers
    vector<vector<float32_t>> channelBandPowers = vector<vector<float32_t>>(1, bandPowers);

    // Array of channels where each channel has 4 elements for 4 bandpowers
    vector<vector<float32_t>> channelRelativeBandPowers = vector<vector<float32_t> >(1, bandPowers);
 

public:
    enum SigProcThreadMessage : uint8_t {
        COMPUTE_DEBUG_FFT_RESULTS = 0,
        COMPUTE_DEBUG_POWER_RESULTS,
        COMPUTE_DEBUG_BANDPOWER_RESULTS,
        COMPUTE_RELATIVEPOWER_RESULTS,
        START_PROCESS,
        INVALID,
    };
    enum PowerBands : uint8_t {
        DELTA = 0,
        THETA,
        ALPHA,
        BETA,
        NONE,
    };

    void Initialize() override;
    void Run() override;
    
    void ComputeSingleSideFFT();
    void ComputeSingleSidePower();
    void ComputeBandPowers(const PowerBands powerBand);
    void ComputeRelativeBandPowers();

    void TestValuesWooHoo();

    static SigProcThread& GetInstance() {
        // NOTE: this method of using static local variable is thread-safe
        // NOTE: this has to be implemented in the child class
        static SigProcThread instance;
        return instance;
    }
};
```

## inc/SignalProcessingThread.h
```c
#pragma once
#include <fstream>
#include <sstream>
#include <vector>
#include <string>
#include "ArmMatrixWrapper.h"
#include <zephyr/logging/log_ctrl.h>
#include <zephyr/logging/log.h>
#include "core/Thread.h"
#include "core/Semaphore.h"
#include "DataBufferManager.h"
#include "Data.h"
#include "Utils.h"
#include "lcd_handler.h"

#define SIG_PROC_THREAD_STACK_SIZE_B 32768
#define SIG_PROC_THREAD_PRIORITY 4 // max based on prj config
#define SIG_PROC_THREAD_MSG_Q_DEPTH 10

// #ifndef RAW_SAMPLE_NUMBER
// #define RAW_SAMPLE_NUMBER 1024 // Just testing for one channel
// #endif
/// @brief 
class SignalProcessingThread : public Thread<SIG_PROC_THREAD_MSG_Q_DEPTH> {
private:
    // TIFrontEndWrapper AFEWrapper;
    SignalProcessingThread();
    ~SignalProcessingThread() = default;

    // need to delete copy cstor and assign optor
    SignalProcessingThread(const SignalProcessingThread &) = delete;
    SignalProcessingThread& operator=(const SignalProcessingThread&) = delete;


    // heehee variables
    uint8_t epoch_count;

    // Matrix of raw data
    ArmMatrixWrapper<num_samples_per_epoch, num_electrodes> allChannels;

    // Array of FFT results of all 8 channels
    ArmMatrixWrapper<num_samples_per_epoch/2, num_electrodes> channelFFTResults;
  
    // Array of Power spectrum of all 8 channels 
    ArmMatrixWrapper<num_samples_per_epoch/2, num_electrodes> channelPowerResults;
   
    //vector<float32_t> bandPowers = vector<float32_t>(4);
    // Array of channels where each channel has 4 elements for 4 bandpowers
    ArmMatrixWrapper<4, max_epochs> bandpwer_ch1;
    ArmMatrixWrapper<4, max_epochs> bandpwer_ch2;
    ArmMatrixWrapper<4, max_epochs> bandpwer_ch3;
    ArmMatrixWrapper<4, max_epochs> bandpwer_ch4;
    ArmMatrixWrapper<4, max_epochs> bandpwer_ch5;
    ArmMatrixWrapper<4, max_epochs> bandpwer_ch6;
    ArmMatrixWrapper<4, max_epochs> bandpwer_ch7;
    ArmMatrixWrapper<4, max_epochs> bandpwer_ch8;
    
    //vector<vector<float32_t>> channelBandPowers = vector<vector<float32_t>>(1, bandPowers);
    ArmMatrixWrapper<4, num_electrodes> averageBandPowers;
    ArmMatrixWrapper<4, num_electrodes> relativeBandPowers;

    ArmMatrixWrapper<4, 1> averageBandPowersVariance;
    ArmMatrixWrapper<4, 1> relativeBandPowersVariance;

    float32_t classificationVariance;

    // Array of channels where each channel has 4 elements for 4 bandpowers
    //vector<vector<float32_t>> channelRelativeBandPowers = vector<vector<float32_t> >(1, bandPowers);
 

public:
    static Semaphore done_flag;
    enum SignalProcessingThreadMessage : uint8_t {
        COMPUTE_DEBUG_FFT_RESULTS = 0,
        COMPUTE_DEBUG_POWER_RESULTS,
        COMPUTE_DEBUG_BANDPOWER_RESULTS,
        COMPUTE_DEBUG_RELATIVEPOWER_RESULTS,
        START_PROCESSING,
        FORCE_STOP_PROCESSING,
        INVALID,
    };
    enum PowerBands : uint8_t {
        DELTA = 0,
        THETA,
        ALPHA,
        BETA,
        NONE,
    };

    void Initialize() override;
    void Run() override;
    void StartProcessing();

    void ComputeSingleSideFFT();
    void ComputeSingleSidePower();
    void ComputeBandPowerAtOneBand(const PowerBands powerBand);
    ArmMatrixWrapper<4,1> ComputeBandPowersPerChannel(uint32_t electrode);

    void ComputeBandPowers();
    void ComputeAverageBandPowers();
    void ComputeRelativeBandPowers();
    void RelativeBandPowerVariance();
    void AverageBandPowerVariance();
    void varianceSummation();
    void PopulateTestValues();

    bool Classification();
    void TestValuesWooHoo();

    void ConvertBandPowerArmMatrixToResult(Result& to_write);

    static SignalProcessingThread& GetInstance() {
        // NOTE: this method of using static local variable is thread-safe
        // NOTE: this has to be implemented in the child class
        static SignalProcessingThread instance;
        return instance;
    }
};
```
